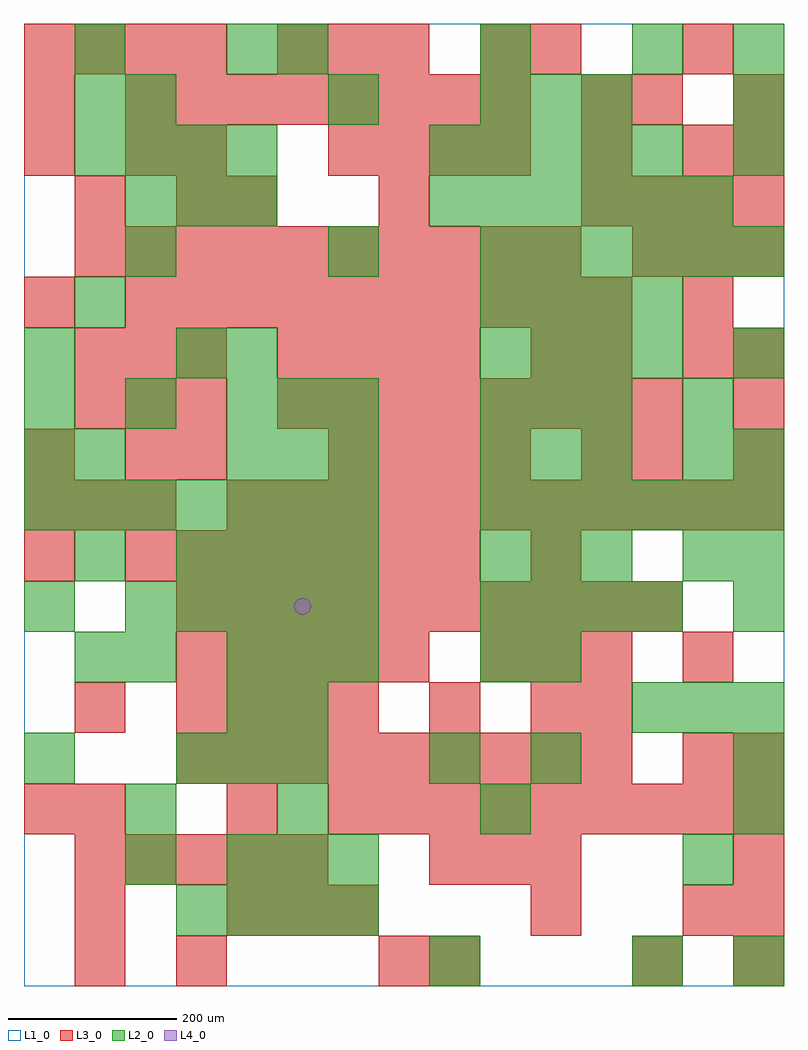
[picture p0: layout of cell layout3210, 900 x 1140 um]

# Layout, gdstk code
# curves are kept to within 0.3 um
import gdstk
lib = gdstk.Library(unit=1e-6, precision=1e-09)
def R(c, l, rs):  # rectangles x0, y0, x1, y1
    for r in rs: c.add(gdstk.rectangle(r[:2], r[2:], *l))
def A(c, l, x, y, w, h, nx, ny, dx, dy):  # array of equal rectangles
    R(c, l, [(x+i*dx, y+j*dy, x+i*dx+w, y+j*dy+h) for i in range(nx) for j in range(ny)])
def P(c, l, *ps):  # polygons
    for p in ps: c.add(gdstk.Polygon(p, *l))
L1_0 = (1, 0)
L2_0 = (2, 0)
L3_0 = (3, 0)
L4_0 = (4, 0)

layout3210 = lib.new_cell('layout3210')
R(layout3210, L1_0, [(0,0,900,1140)])
A(layout3210, L2_0, 180, 60, 60, 60, 4, 2, 60, 420)
A(layout3210, L2_0, 240, 120, 60, 60, 3, 3, 60, 240)
A(layout3210, L2_0, 0, 240, 60, 60, 1, 3, 0, 180)
A(layout3210, L2_0, 180, 240, 60, 60, 3, 1, 60, 0)
A(layout3210, L2_0, 720, 300, 60, 60, 3, 1, 60, 0)
A(layout3210, L2_0, 60, 360, 60, 60, 1, 3, 0, 120)
A(layout3210, L2_0, 120, 420, 60, 60, 5, 1, 60, 0)
A(layout3210, L2_0, 540, 420, 60, 60, 4, 2, 60, 300)
A(layout3210, L2_0, 540, 480, 60, 60, 3, 2, 60, 120)
A(layout3210, L2_0, 840, 480, 60, 60, 1, 3, 0, 120)
A(layout3210, L2_0, 0, 540, 60, 60, 7, 1, 60, 0)
A(layout3210, L2_0, 540, 540, 60, 60, 6, 2, 60, 300)
A(layout3210, L2_0, 0, 660, 60, 60, 3, 1, 120, 0)
A(layout3210, L2_0, 360, 660, 60, 60, 1, 3, 0, 180)
A(layout3210, L2_0, 540, 660, 60, 60, 3, 2, 60, 360)
A(layout3210, L2_0, 540, 780, 60, 60, 4, 1, 60, 0)
A(layout3210, L2_0, 120, 900, 60, 60, 3, 1, 60, 0)
A(layout3210, L2_0, 480, 900, 60, 60, 6, 1, 60, 0)
A(layout3210, L2_0, 60, 960, 60, 60, 4, 1, 60, 0)
A(layout3210, L2_0, 480, 960, 60, 60, 5, 1, 60, 0)
A(layout3210, L2_0, 840, 960, 60, 60, 1, 3, 0, 60)
R(layout3210, L2_0, [(480,0,540,60), (720,0,780,60), (840,0,900,60), (120,120,180,180), (780,120,840,180), (120,180,180,240), (300,180,360,240), (540,180,600,240), (840,180,900,240), (480,240,540,300), (600,240,660,300), (840,240,900,300), (240,300,300,360), (300,300,360,360), (120,360,180,420), (540,360,600,420), (600,360,660,420), (840,420,900,480), (780,480,840,540), (780,600,840,660), (300,660,360,720), (780,660,840,720), (0,720,60,780), (180,720,240,780), (240,720,300,780), (60,780,120,840), (120,840,180,900), (60,1020,120,1080), (120,1020,180,1080), (60,1080,120,1140), (240,1080,300,1140), (300,1080,360,1140), (540,1080,600,1140), (720,1080,780,1140)])
A(layout3210, L3_0, 840, 0, 60, 60, 1, 3, 0, 60)
A(layout3210, L3_0, 60, 60, 60, 60, 1, 3, 0, 120)
A(layout3210, L3_0, 240, 60, 60, 60, 3, 1, 60, 0)
A(layout3210, L3_0, 60, 120, 60, 60, 5, 1, 60, 0)
A(layout3210, L3_0, 480, 120, 60, 60, 3, 1, 60, 0)
A(layout3210, L3_0, 360, 180, 60, 60, 9, 1, 60, 0)
A(layout3210, L3_0, 180, 240, 60, 60, 9, 1, 60, 0)
A(layout3210, L3_0, 180, 300, 60, 60, 4, 1, 60, 0)
A(layout3210, L3_0, 180, 360, 60, 60, 5, 1, 60, 0)
A(layout3210, L3_0, 540, 360, 60, 60, 3, 1, 60, 0)
A(layout3210, L3_0, 180, 420, 60, 60, 10, 1, 60, 0)
A(layout3210, L3_0, 120, 480, 60, 60, 7, 1, 60, 0)
A(layout3210, L3_0, 0, 540, 60, 60, 3, 1, 60, 0)
A(layout3210, L3_0, 240, 540, 60, 60, 11, 1, 60, 0)
A(layout3210, L3_0, 0, 600, 60, 60, 1, 3, 0, 180)
A(layout3210, L3_0, 360, 600, 60, 60, 4, 2, 60, 360)
A(layout3210, L3_0, 840, 600, 60, 60, 1, 3, 0, 60)
A(layout3210, L3_0, 60, 660, 60, 60, 3, 2, 60, 60)
A(layout3210, L3_0, 300, 660, 60, 60, 8, 1, 60, 0)
A(layout3210, L3_0, 300, 720, 60, 60, 4, 1, 60, 0)
A(layout3210, L3_0, 120, 780, 60, 60, 10, 1, 60, 0)
A(layout3210, L3_0, 60, 840, 60, 60, 10, 1, 60, 0)
A(layout3210, L3_0, 720, 840, 60, 60, 3, 1, 60, 0)
A(layout3210, L3_0, 660, 900, 60, 60, 4, 1, 60, 0)
A(layout3210, L3_0, 120, 1020, 60, 60, 8, 1, 60, 0)
A(layout3210, L3_0, 0, 1080, 60, 60, 4, 1, 60, 0)
A(layout3210, L3_0, 300, 1080, 60, 60, 3, 1, 60, 0)
R(layout3210, L3_0, [(60,0,120,60), (180,0,240,60), (420,0,480,60), (480,0,540,60), (720,0,780,60), (600,60,660,120), (780,60,840,120), (0,180,60,240), (240,180,300,240), (780,240,840,300), (840,240,900,300), (480,300,540,360), (600,300,660,360), (660,300,720,360), (780,360,840,420), (0,480,60,540), (600,480,660,540), (120,600,180,660), (180,600,240,660), (660,600,720,660), (720,600,780,660), (600,720,660,780), (660,720,720,780), (780,720,840,780), (780,780,840,840), (60,900,120,960), (180,900,240,960), (240,900,300,960), (420,900,480,960), (120,960,180,1020), (180,960,240,1020), (660,960,720,1020), (780,960,840,1020), (840,960,900,1020), (0,1020,60,1080), (660,1020,720,1080), (720,1020,780,1080), (840,1020,900,1080), (540,1080,600,1140), (600,1080,660,1140), (780,1080,840,1140)])
P(layout3210, L4_0, [(340,450),(339.239,453.827),(337.071,457.071),(333.827,459.239),(330,460),(326.173,459.239),(322.929,457.071),(320.761,453.827),(320,450),(320.761,446.173),(322.929,442.929),(326.173,440.761),(330,440),(333.827,440.761),(337.071,442.929),(339.239,446.173)])

lib.write_gds('layout3210.gds')
